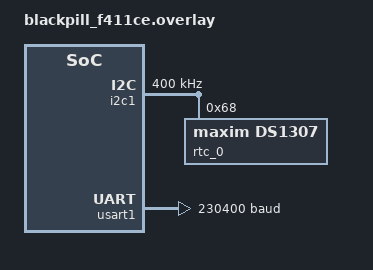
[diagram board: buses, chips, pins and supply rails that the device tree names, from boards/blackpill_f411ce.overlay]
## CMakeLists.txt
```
# SPDX-License-Identifier: Apache-2.0

cmake_minimum_required(VERSION 3.20.0)

set (CMAKE_CXX_STANDARD 20)
set (CMAKE_CXX_STANDARD_REQUIRED ON)


# Default board to blackpill
if (NOT DEFINED ${BOARD})
  set(BOARD blackpill_f411ce)
endif()

# Define board root to find our custom shield
set(BOARD_ROOT ${CMAKE_SOURCE_DIR})

find_package(Zephyr REQUIRED HINTS $ENV{ZEPHYR_BASE})

project(imubar)

FILE(GLOB app_sources src/*.cpp)

target_sources(app PRIVATE ${app_sources})
```

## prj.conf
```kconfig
CONFIG_LOG=y
CONFIG_LOG_MODE_IMMEDIATE=n
CONFIG_LOG_DEFAULT_LEVEL=3
CONFIG_LOG_BACKEND_UART=y
CONFIG_CBPRINTF_FP_SUPPORT=y

CONFIG_CPP=y
CONFIG_STD_CPP20=y
CONFIG_GLIBCXX_LIBCPP=y
CONFIG_FPU=y
CONFIG_FPU_SHARING=y

CONFIG_I2C=y                                                                                         
CONFIG_RTC=y
```

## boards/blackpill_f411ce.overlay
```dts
/*
 * Copyright (c) 2019 Nordic Semiconductor ASA
 *
 * SPDX-License-Identifier: Apache-2.0
 */


&i2c1 {
    status = "okay";
    clock-frequency = <I2C_BITRATE_FAST>;

    rtc_0: ds1307@68 {
        compatible = "maxim,ds1307";
        reg = <0x68>;
    };
};


&usart1 {
    status = "okay";
    current-speed = <230400>;
};
```

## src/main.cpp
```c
#include <zephyr/kernel.h>
#include <zephyr/sys/timeutil.h>
#include <zephyr/drivers/rtc.h>
#include <zephyr/logging/log.h>

#include <time.h>

LOG_MODULE_REGISTER(rtc_test);

#define RTC_0 DT_NODELABEL(rtc_0)

static device const *const rtc = DEVICE_DT_GET(RTC_0);
static constexpr int clock_scaler = 1000;

static time_t uptime_offset_ = 0;

inline time_t rtc_time_to_time(rtc_time rtctime) {
  time_t time = timeutil_timegm(rtc_time_to_tm(&rtctime));
  return clock_scaler * time;
}

time_t get_time() {
  return k_uptime_get() + uptime_offset_;
}


void set_clock(time_t time) {
  LOG_INF("Set time: %lld", time);
  LOG_INF("Old offset: %lld", uptime_offset_);
  auto uptime = k_uptime_get();
  LOG_INF("Uptime: %lld", uptime);
  uptime_offset_ = time - uptime;
  LOG_INF("New offset: %lld", uptime_offset_);
}

void set_clock(rtc_time& rtctime) {
  set_clock(rtc_time_to_time(rtctime));
}

bool set_clock_from_rtc(bool exact=false) {
  rtc_time rtctime;
  auto ret = rtc_get_time(rtc, &rtctime);
  if (ret < 0) {
    LOG_ERR("Failed to get RTC time: %d", ret);
    return false;
  }
  if (exact) {
    auto secs = rtctime.tm_sec;
    while (rtctime.tm_sec == secs) {
      ret = rtc_get_time(rtc, &rtctime);
      if (ret < 0) {
        LOG_ERR("Failed to get RTC time: %d", ret);
        return false;
      }
      k_msleep(1);
    }
  }
  set_clock(rtctime);
  return true;
}

bool set_rtc(rtc_time &rtctime) {
  auto ret = rtc_set_time(rtc, &rtctime);
  if (ret < 0) {
    LOG_ERR("Failed to set RTC clock");
    return false;
  }
  set_clock(rtctime);
  return true;
}

time_t get_rtc() {
  rtc_time rtctime;
  auto ret = rtc_get_time(rtc, &rtctime);
  if (ret < 0) {
    LOG_ERR("Failed to get RTC time: %d", ret);
    return 0;
  }
  return rtc_time_to_time(rtctime);
}

int main() {
  LOG_INF("Starting...");
  LOG_INF("Init RTC...");
  if (!device_is_ready(rtc)) {
    LOG_ERR("Failed to initialize RTC");
    return 1;
  }
  LOG_INF("Done");
  k_msleep(1500);
  rtc_time starttime = {
        .tm_sec = 0,
        .tm_min = 59,
        .tm_hour = 23,
        .tm_mday = 28,
        .tm_mon = 1,
        .tm_year = 125,
        .tm_wday = -1,
        .tm_yday = -1,
        .tm_isdst = false,
        .tm_nsec = 0,
  };

  auto t = rtc_time_to_time(starttime);
  LOG_INF("Set RTC time: %lld...", t);

  if (!set_rtc(starttime)) {
    LOG_ERR("Failed to set RTC");
    return 1;
  }
  LOG_INF("Done");

  int i = 0;

  while (i < 10000) {
    time_t time = get_time();
    time_t rtctime = get_rtc();
    auto now = time / clock_scaler;
    auto time_s = gmtime(&now);
    char date[64];
    strftime(date, sizeof(date), "%Y-%m-%d %H:%M:%S", time_s);

    if (i % 10 == 0) {
      LOG_INF("TIME: %lld", time);
      LOG_INF(" RTC: %lld", rtctime);
      LOG_INF("DATE: %s", date);
    }
    ++i;
    k_msleep(10);
  }

  k_msleep(500);

  LOG_INF("Reset RTC");
  // Check to see whether nanoseconds are ignored when setting.. They are!
  starttime.tm_nsec = 500000000;
  if (!set_rtc(starttime)) {
    LOG_ERR("Failed to set RTC");
    return 1;
  }
  LOG_INF("Done");
  starttime.tm_nsec = 0;

  i = 0;
  while (i < 200) {
    time_t time = get_time();
    time_t rtctime = get_rtc();
    if (i % 10 == 0) {
      LOG_INF("TIME: %lld", time);
      LOG_INF(" RTC: %lld", rtctime);
    }
    ++i;
    k_msleep(10);
  }

  uptime_offset_ =  0;
  set_clock_from_rtc(true);

  i = 0;
  while (i < 200) {
    time_t time = get_time();
    time_t rtctime = get_rtc();
    if (i % 10 == 0) {
      LOG_INF("TIME: %lld", time);
      LOG_INF(" RTC: %lld", rtctime);
    }
    ++i;
    k_msleep(10);
  }

  if (!set_rtc(starttime)) {
    LOG_ERR("Failed to set RTC");
    return 1;
  }
  time_t start = get_time();
  time_t last = get_rtc();
  i = 0;
  while (true) {
    time_t now = get_rtc();
    if (now != last) {
      break;
    }
    k_msleep(10);
    ++i;
  }
  LOG_INF("Time to next: %lld, %d loops", get_time() - start, i);


  LOG_INF("Finished");
  return 0;
}
```
